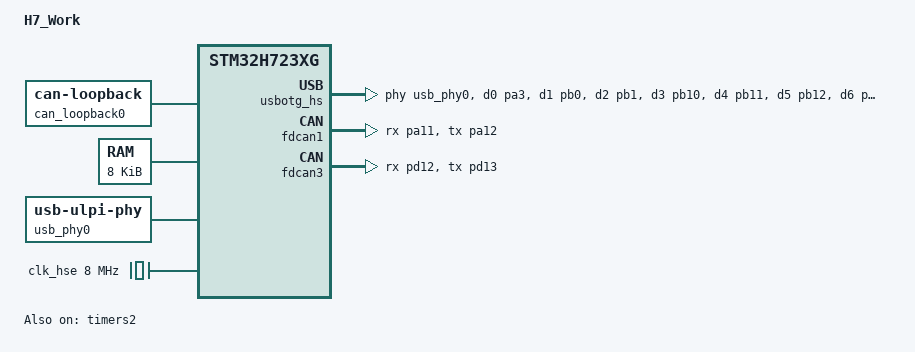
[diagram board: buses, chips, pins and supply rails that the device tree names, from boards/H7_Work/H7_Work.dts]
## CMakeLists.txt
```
# SPDX-License-Identifier: Apache-2.0

cmake_minimum_required(VERSION 3.28.0)

set(BOARD_ROOT ${CMAKE_CURRENT_LIST_DIR})
set(CMAKE_EXPORT_COMPILE_COMMANDS ON)

find_package(Zephyr REQUIRED HINTS $ENV{ZEPHYR_BASE})
project(H7_Work)

target_sources(app PRIVATE
    src/main.cpp
    src/Basic_USB.cpp
    src/Basic_CAN.cpp
    src/CS_CAN.cpp
    src/Extern_RM.cpp
    src/K_RTT_Thread.cpp
    src/K_CAN_Thread.cpp
    src/K_USB_CAN_ERR_Thread.cpp
    src/M_S_Control.cpp
)

target_include_directories(app PRIVATE
    ${CMAKE_CURRENT_SOURCE_DIR}/inc
    ${CMAKE_CURRENT_SOURCE_DIR}/src
)

set_source_files_properties(
    src/main.cpp
    PROPERTIES
    COMPILE_OPTIONS "-O0;-g3"
)
```

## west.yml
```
# Copyright (c) 2025 roboparty <2321901849@qq.com>
# SPDX-License-Identifier: GPL-3.0-only

manifest:
  version: 0.13

  projects:
    - name: zephyr
      remote: zephyrproject
      revision: main
      import: true

    - name: cannectivity
      remote: cannectivity
      revision: main
      path: custom/cannectivity

  remotes:
    - name: zephyrproject
      url-base: https://github.com/zephyrproject-rtos

    - name: cannectivity
      url-base: https://github.com/CANnectivity

  self:
    path: samples/roboto_usb2can
```

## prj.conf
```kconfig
# ======================================================================
# H7_Work / STM32H723VG   prj.conf
#
# 约定：
#  1) 本文件里注释必须"独占一行、以 # 开头"；
#     不要写  CONFIG_FOO=1 // 说明   —— 值会解析失败并静默回退默认值
#  2) *_LOG_LEVEL_* 是 Kconfig choice：同一模块只能出现一条
#  3) CONFIG_USBD_MAX_SPEED 是派生量（=1 表示编入 HS 支持），不要手写
#     —— 由 UDC_STM32 的 UDC_DRIVER_HAS_HIGH_SPEED_SUPPORT 自动选 HIGH
# ======================================================================

# ------------------------------------------------------------------ 1. 时钟
# STM32 时钟控制驱动：配置 PLL / 总线时钟
CONFIG_CLOCK_CONTROL=y

# ------------------------------------------------------------------ 2. 系统节拍
# 100 kHz tick = 10 µs 一拍（精度高，但 tick 中断开销也高；不需要可降到 10000）
CONFIG_SYS_CLOCK_TICKS_PER_SEC=100000

# ------------------------------------------------------------------ 3. 内核 / 运行时观测
# C++ 静态对象在 main() 之前就构造好
CONFIG_STATIC_INIT_GNU=y
# 保留 assert：失败先打日志再挂住，便于定位（构建时看到
# "__ASSERT() statements are globally ENABLED" 是正常的）
CONFIG_ASSERT=y
# FPU / 打印支持：让 RTT 能打 float
CONFIG_CBPRINTF_FP_SUPPORT=y

# 线程分析器：查每个线程的栈用量 / CPU 占用（纯调试用，平时可整组关掉）
CONFIG_THREAD_ANALYZER=y
CONFIG_THREAD_ANALYZER_PRINT_THREAD_PRIORITY=y
CONFIG_THREAD_ANALYZER_ISR_STACK_USAGE=y
# 用 k_thread_foreach_unlocked：逐字扫线程栈很慢，不要长时间关中断
CONFIG_THREAD_ANALYZER_RUN_UNLOCKED=y
# 线程名字（分析器输出里显示）
CONFIG_THREAD_NAME=y

# ------------------------------------------------------------------ 4. 内存 / 线程栈
# 所有中断共用栈
CONFIG_ISR_STACK_SIZE=8192
# 系统堆（k_malloc）
CONFIG_HEAP_MEM_POOL_SIZE=8192
# 系统工作队列 sysworkq
CONFIG_SYSTEM_WORKQUEUE_STACK_SIZE=4096
# main 线程栈：usbd_add_configuration/init/enable 等初始化都跑在 main 里
CONFIG_MAIN_STACK_SIZE=4096

# ------------------------------------------------------------------ 5. 日志（RTT 后端）
# 关键: deferred —— 日志由 log 线程格式化输出，不要在 UDC / USB 事件线程里同步写 RTT
CONFIG_LOG=y
CONFIG_LOG_MODE_DEFERRED=y
CONFIG_LOG_BACKEND_RTT=y
CONFIG_USE_SEGGER_RTT=y

# 允许用 devicetree 的 zephyr,memory-region 建立 no-cache 内存区
CONFIG_NOCACHE_MEMORY=y
# 把 RTT 控制块/缓冲放到 DTS 的 RTT_NOCACHE 区：Cortex-M7 有 D-cache，
# 放在可缓存内存里 pyocd 读 RTT 会 "Memory transfer fault (FAULT ACK)"
CONFIG_SEGGER_RTT_SECTION_CUSTOM_DTS_REGION=y
# 上行缓冲满时丢日志，而不是阻塞调用者（UDC 线程 / 中断不能等）
CONFIG_LOG_BACKEND_RTT_MODE_DROP=y
# 不加时间戳（省 CPU / 栈）
CONFIG_LOG_BACKEND_SHOW_TIMESTAMP=n
# 全局级别 3 = INF
CONFIG_LOG_DEFAULT_LEVEL=3

# 上行缓冲 / LOG 环形缓冲 / log 线程栈
CONFIG_SEGGER_RTT_BUFFER_SIZE_UP=8000
CONFIG_LOG_BUFFER_SIZE=16384
CONFIG_LOG_PROCESS_THREAD_STACK_SIZE=8000

# ------------------------------------------------------------------ 6. 各模块日志级别
# ★ 同一模块的 *_LOG_LEVEL_* 只能有一条（choice），想开 DBG 就先把同模块的 WRN 注释掉
#
# gs_usb 类：只留 WRN，避免每帧都刷屏
CONFIG_USBD_GS_USB_LOG_LEVEL_WRN=y
# CAN 子系统：只留 WRN（过滤器 out-of-bounds 的 LOG_ERR 仍会打印）
CONFIG_CAN_LOG_LEVEL_WRN=y
#
# ★ 调试开关（上板抓完日志后建议全部改回 WRN）
# UDC 驱动：DBG 会把每个端点的 ep_check_config 都打出来，一大串，淹没关键日志
# CONFIG_UDC_DRIVER_LOG_LEVEL_DBG=y
CONFIG_UDC_DRIVER_LOG_LEVEL_WRN=y
# usbd 协议栈核心：DBG 打印描述符 / 配置 / 类注册过程（排查枚举时临时开 DBG）
# CONFIG_USBD_LOG_LEVEL_DBG=y
CONFIG_USBD_LOG_LEVEL_INF=y

# ------------------------------------------------------------------ 7. USB 设备栈（device_next）
# cannectivity 的 gs_usb 类依赖新一代 device stack
CONFIG_USB_DEVICE_STACK_NEXT=y
CONFIG_NONZERO_SPINLOCK_SIZE=y

# usbd 协议栈线程 / STM32 UDC 驱动线程（日志里的 usb@40040000）
CONFIG_USBD_THREAD_STACK_SIZE=8192
CONFIG_UDC_STM32_STACK_SIZE=4096

# ------------------------------------------------------------------ 8. UDC 端点缓冲（net_buf）
# 个数：USB 满载时不够会 enqueue 失败 / 丢帧 16~256
CONFIG_UDC_BUF_COUNT=64
# 总量（字节，64~32768）；必须和上面的 count 配对加大，
# HS 满包 512B 时单次请求占用明显变大
CONFIG_UDC_BUF_POOL_SIZE=16384

# HS(MPS=512) 下 OTG 的 RxFIFO 基线：默认 600 只够塞 1 个 512B 包且无余量
# 实际 RxFIFO = 1024/4 + 2 + 2×num_endpoints = 276 words ≈ 1.1 KB（专用 RAM 4 KB 够）
CONFIG_UDC_STM32_OTG_RXFIFO_BASELINE_SIZE=1024

# ------------------------------------------------------------------ 9. gs_usb 设备类
# 通道数 = can_channels[] 的元素个数 = M_S_Control 各表的元素个数，三者必须一致
# channel0 = can0(真实 FDCAN1, PD0/PD1)
# channel1 = can1(虚拟回环 zephyr,can-loopback)
# channel2 = can2(真实 FDCAN3, PD12/PD13)
CONFIG_USBD_GS_USB_MAX_CHANNELS=3

# 主机帧缓冲池：元素 = 12B 头 + 64B 数据(FD) = 76B
CONFIG_USBD_GS_USB_POOL_SIZE=192

# Linux gs_usb < 6.12.5 硬编码 EP 0x81 / 0x02，需要多一个 bulk OUT 端点兜底
CONFIG_USBD_GS_USB_COMPATIBILITY_MODE=y

# 收发线程优先级（数值越小越高；TX 1 / RX 2，均高于 log 线程）
CONFIG_USBD_GS_USB_TX_THREAD_PRIO=1
CONFIG_USBD_GS_USB_RX_THREAD_PRIO=2
CONFIG_USBD_GS_USB_TX_THREAD_STACK_SIZE=8192
CONFIG_USBD_GS_USB_RX_THREAD_STACK_SIZE=8192

# can_loopback（虚拟 can1）驱动的发送线程栈
CONFIG_CAN_LOOPBACK_TX_THREAD_STACK_SIZE=2048

# ------------------------------------------------------------------ 10. CAN / FDCAN
# CAN FD 模式（FDF/BRS 帧，5M 数据段必需）
CONFIG_CAN_FD_MODE=y
# 统计框架 + CAN 统计（bit/bit0 error、bus-off 计数）
CONFIG_STATS=y
CONFIG_CAN_STATS=y

# ------------------------------------------------------------------ 11. 可选功能（要用再打开）
# 每帧附加硬件时间戳
# CONFIG_USBD_GS_USB_TIMESTAMP=y
# 时间戳改用 USB SOF 做基准（精度更高，但每帧一次 SOF 中断）
# CONFIG_USBD_GS_USB_TIMESTAMP_SOF=y

# ------------------------------------------------------------------ 12. 调试（ULPI 排查用，定位完可关掉）
# 让 gdb 能列出所有线程并打印各自调用栈（pyocd gdbserver 会提示需要它）
CONFIG_DEBUG_THREAD_INFO=y
CONFIG_THREAD_MONITOR=y
```

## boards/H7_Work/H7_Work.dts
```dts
/dts-v1/;

#include <st/h7/stm32h723Xg.dtsi>
#include <st/h7/stm32h723vgtx-pinctrl.dtsi>
#include <zephyr/dt-bindings/memory-attr/memory-attr-arm.h>

/ {
	model = "H7_Work";
	compatible = "candlelightfd";

	aliases {
		rtt-custom-section = &rtt_region;
	};

	chosen {
		zephyr,sram = &sram0;
		zephyr,flash = &flash0;
		zephyr,canbus2 = &fdcan1;
		zephyr,canbus3 = &fdcan3;
	};

	cannectivity: cannectivity {
		compatible = "cannectivity";
		timestamp-counter = <&counters2>;

		channel1 {
			compatible = "cannectivity-channel";
			can-controller = <&fdcan1>;
		};

		channel3 {
			compatible = "cannectivity-channel";
			can-controller = <&fdcan3>;
		};
	};

	gs_usb0: gs_usb0 {
		compatible = "gs_usb";
		label = "gs_usb";
	};

	can_loopback0: can_loopback {
		compatible = "zephyr,can-loopback";
		status = "okay";
	};

	rtt_region: memory@2404e000 {
		compatible = "zephyr,memory-region", "mmio-sram";
		reg = <0x2404e000 DT_SIZE_K(8)>;
		zephyr,memory-region = "RTT_NOCACHE";
		zephyr,memory-attr = <DT_MEM_ARM_MPU_RAM_NOCACHE>;
	};

	usb_phy0: usb-phy-ulpi {
		compatible = "usb-ulpi-phy";
		#phy-cells = <0>;
	};
};

&sram0 {
	reg = <0x24000000 DT_SIZE_K(312)>;
};

/* Adjust the pll for a SYSTEM Clock of 480 MHz  */
&clk_hse {
	hse-bypass;
	clock-frequency = <DT_FREQ_M(8)>;
	status = "okay";
};

&pll {
	clocks = <&clk_hse>;
	div-m = <4>;   // 2 MHz to PLL（VCO）
	mul-n = <260>; // 520MHz
	div-p = <1>;   // 520MHz to SYS
	div-q = <13>;   // 20 MHz
	div-r = <13>;   // 20MHz to UART234578
	fracn = <0>;
	status = "okay";
};

&pll2 {
	clocks = <&clk_hse>;
	div-m = <1>;  // 8   MHz to PLL2（VCO）
	mul-n = <25>; // 200 MHz
	div-p = <2>;  // 100 MHz
	div-q = <2>;  // 100 MHz to FDCAN
	div-r = <2>;  // 100 MHz
	fracn = <0>;
	status = "okay";
};

&rcc {
	clocks = <&pll>;
	clock-frequency = <DT_FREQ_M(520)>;     /* 520 MHz SCLK*/
	d1cpre = <1>;                           /* 520 MHz CPU Clocks*/
	hpre = <4>;				/* 130 MHz */
	d1ppre = <1>;				/* 130 MHz APB3 Peripheral Clock */
	d2ppre1 = <1>;				/* 130 MHz APB1 Peripheral Clock */
	d2ppre2 = <1>;				/* 130 MHz APB2 Peripheral Clock */
	d3ppre = <1>;				/* 130 MHz APB4 Peripheral Clock */
	timpre;					/* Timer Clock Prescaler */
};

&clk_hsi48 {
	status = "okay";
};

zephyr_udc0: &usbotg_hs {
	pinctrl-0 = <&usb_otg_hs_ulpi_d0_pa3
		     &usb_otg_hs_ulpi_d1_pb0
		     &usb_otg_hs_ulpi_d2_pb1
		     &usb_otg_hs_ulpi_d3_pb10
		     &usb_otg_hs_ulpi_d4_pb11
		     &usb_otg_hs_ulpi_d5_pb12
		     &usb_otg_hs_ulpi_d6_pb13
		     &usb_otg_hs_ulpi_d7_pb5
		     &usb_otg_hs_ulpi_ck_pa5
		     &usb_otg_hs_ulpi_stp_pc0
		     &usb_otg_hs_ulpi_dir_pc2_c
		     &usb_otg_hs_ulpi_nxt_pc3_c>;
	pinctrl-names = "default";
	interrupts = <74 0>, <75 0>, <76 0>, <77 0>;
	num-bidir-endpoints = <9>;
	phys = <&usb_phy0>;
	maximum-speed = "high-speed";
	ram-size = <DT_SIZE_K(4)>;
	clocks = <&rcc STM32_CLOCK_BUS_AHB1 0x06000000>,
		 <&rcc STM32_SRC_HSI48 USB_SEL(3)>;
	status = "okay";
};

&fdcan1 {
	/* 本板(ULPI 高速板)原理图: FDCAN1_TX -> U2-71(PA12) -> U3(TXD)
	 *                        FDCAN1_RX -> U2-70(PA11) -> U3(RXD)
	 * PD0/PD1 在板上是悬空的，配成 PD0/PD1 会导致报文根本到不了收发器，
	 * 控制器收不到 ACK -> bus-off -> can_send 返回 -ENETUNREACH(-114)
	 */
	pinctrl-0 = <&fdcan1_rx_pa11 &fdcan1_tx_pa12>;
	pinctrl-names = "default";
	clocks = <&rcc STM32_CLOCK(APB1_2, 8)>,
		 <&rcc STM32_SRC_PLL2_Q FDCAN_SEL(2)>;
	status = "okay";
};

&fdcan3 {
	pinctrl-0 = <&fdcan3_rx_pd12 &fdcan3_tx_pd13>;
	pinctrl-names = "default";
	clocks = <&rcc STM32_CLOCK(APB1_2, 8)>,
		 <&rcc STM32_SRC_PLL2_Q FDCAN_SEL(2)>;
	status = "okay";
};

&timers2 {
	status = "okay";
	st,prescaler = <239>;

	counters2: counter {
		status = "okay";
	};
};

&pwr {
	power-supply = "ldo";
};
```

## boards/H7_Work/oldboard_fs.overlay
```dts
/*
 * 旧板（H7_Work 原始板）A/B 验证用 overlay
 *
 * 用法：
 *   west build -p always -b H7_Work ~/Zephyr_text/H7_Work -- \
 *       -DDTC_OVERLAY_FILE=boards/H7_Work/oldboard_fs.overlay
 *
 * 作用：把 USB 从"外部 ULPI PHY"切回"MCU 内置 FS PHY（PA11/PA12）"。
 * 注意：新测试板（ULPI）不要用这个 overlay。
 *      旧板上 CAN 引脚(PB12/PB13)与当前 dts(fdcan1/fdcan3) 不匹配，
 *      只验 USB 时可以忽略 CAN 报错。
 */

&usbotg_hs {
	pinctrl-0 = <&usb_otg_hs_dm_pa11 &usb_otg_hs_dp_pa12>;
	pinctrl-names = "default";
	phys = <&otghs_fs_phy>;
	maximum-speed = "full-speed";
};
```

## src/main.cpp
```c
#include <zephyr/kernel.h>
#include <zephyr/logging/log.h>
#include <soc.h>

#include <Basic_USB.h>
#include "CS_CAN.h"

#include <K_RTT_Thread.h>
#include <K_CAN_Thread.h>

#include <M_S_Control.h>

LOG_MODULE_REGISTER(main, LOG_LEVEL_INF);

K_THREAD_DEFINE(RTT_TX_tid, 4096,
				RTT_TX_thread, 
				NULL, NULL, NULL,
				7, 0, 0);

				
K_THREAD_DEFINE(RTT_RX_tid, 4096,
				RTT_RX_thread,
				NULL, NULL, NULL,
				6, 0, 0);

K_THREAD_DEFINE(CAN2_tid, 2048,
				CAN2_thread, 
				NULL, NULL, NULL, 
				1, 0, SYS_FOREVER_MS);

K_THREAD_DEFINE(CAN_loopback_tid, 2048,
				CAN_loopback_thread, 
				NULL, NULL, NULL, 
				5, 0, 0);

// K_THREAD_DEFINE(USB_CAN_Err_tid, 1024,
// 				USB_CAN_ERR_thread, 
// 				NULL, NULL, NULL, 
// 				2, 0, 0);

int main_err = 0;

/* ------------------------------------------------------------------
 * 运行模式（两种互斥：gs_usb 和 CAN2_thread 都要独占 fdcan1）
 *   0 = USB 模式：gs_usb 三通道 CAN-FD，PC 用 socketcan 收发，云台控制环不跑
 *   1 = 独立 CAN 模式：关掉 USB，启动 fdcan1 + 达妙电机控制环，脱离 PC 跑
 * ------------------------------------------------------------------ */
#define APP_STANDALONE_CAN_MODE  0

#if APP_STANDALONE_CAN_MODE
static bool can2_started;
#endif

/* ------------------------------------------------------------------
 * 复位探针：__noinit 变量不被启动代码清零，可跨复位累加。
 * 若 boot # 一直在涨，就说明板子在反复复位（枚举失败的头号原因）。
 * ------------------------------------------------------------------ */
static __noinit uint32_t boot_cnt;

static void log_reset_cause(void)
{
	uint32_t rsr = RCC->RSR;

	boot_cnt++;
	LOG_WRN("boot #%u  RCC->RSR=0x%08x", boot_cnt, rsr);

#ifdef RCC_RSR_BORRSTF
	if (rsr & RCC_RSR_BORRSTF)  { LOG_WRN("  -> brown-out (BOR) reset"); }
#endif
#ifdef RCC_RSR_PORRSTF
	if (rsr & RCC_RSR_PORRSTF)  { LOG_WRN("  -> power-on (POR) reset"); }
#endif
#ifdef RCC_RSR_PINRSTF
	if (rsr & RCC_RSR_PINRSTF)  { LOG_WRN("  -> NRST pin reset"); }
#endif
#ifdef RCC_RSR_SFTRSTF
	if (rsr & RCC_RSR_SFTRSTF)  { LOG_WRN("  -> software reset"); }
#endif
#ifdef RCC_RSR_IWDGRSTF
	if (rsr & RCC_RSR_IWDGRSTF) { LOG_WRN("  -> IWDG reset"); }
#endif
#ifdef RCC_RSR_WWDGRSTF
	if (rsr & RCC_RSR_WWDGRSTF) { LOG_WRN("  -> WWDG reset"); }
#endif
#ifdef RCC_RSR_LPWRRSTF
	if (rsr & RCC_RSR_LPWRRSTF) { LOG_WRN("  -> low-power reset"); }
#endif

	/* 清标志，下次读到的才是新的复位原因 */
#if defined(RCC_RSR_RMVF)
	RCC->RSR |= RCC_RSR_RMVF;
#elif defined(RCC_RSR_RMVF_Msk)
	RCC->RSR |= RCC_RSR_RMVF_Msk;
#endif
}

int main(void)
{
	log_reset_cause();
	LOG_INF("Begin Gimbal");

	main_err = usb_device_setup();
	if (main_err != 0)
	{
		LOG_ERR("usb_device_setup failed (err %d)", main_err);
		return main_err;
	}

	// /* CAN 状态监听：bus-off / error-passive 直接打到 RTT，方便定位发送失败 */
	// CS_CAN_Monitor_Init();

	// /* CAN 丢包监测：每秒打印 RX FIFO 溢出 / 错误计数增量 / USB 收发帧数 */
	// CS_CAN_Loss_Monitor_Start();

#if APP_STANDALONE_CAN_MODE
	/* 独立 CAN 模式：先关 USB（gs_usb 与 CAN2_thread 争用 fdcan1），
	 * 再启动三路 FDCAN，最后拉起达妙电机控制环。 */
	M_S_Control.C_M_TO_S(usb_main_get());
	if (!can2_started) {
		can2_started = true;
		k_thread_start(CAN2_tid);
	}
#endif

	return 0;
}
```

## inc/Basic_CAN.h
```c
#ifndef BASIC_CAN_H_
#define BASIC_CAN_H_

#include <zephyr/kernel.h>
#include <zephyr/drivers/can.h>
#include <zephyr/devicetree.h> 

#define CAN_Get_Frame(data_ptr, q_name)   (k_msgq_put(&(q_name), (data_ptr), K_NO_WAIT))

extern const struct can_filter BASIC_CANLB_Fil;
extern const struct can_filter BASIC_CAN1_Fil;
extern const struct can_filter BASIC_CAN2_Fil;
extern const struct can_filter BASIC_CAN3_Fil;

extern struct k_msgq basic_canlb_q;
extern struct k_msgq basic_can1_q;
extern struct k_msgq basic_can2_q;
extern struct k_msgq basic_can3_q;

void CAN_LB_RX_Cplt(const struct device *dev, struct can_frame *frame, void *user_data);
void CAN1_RX_Cplt(const struct device *dev, struct can_frame *frame, void *user_data);
void CAN2_RX_Cplt(const struct device *dev, struct can_frame *frame, void *user_data);
void CAN3_RX_Cplt(const struct device *dev, struct can_frame *frame, void *user_data);

void CAN_Clear_All_Filters(const struct device *can);
void CAN_Clear_Std_Filters(const struct device *can);

int Basic_CAN_Start(const struct device *can,
                        uint16_t can_mod,
                        can_rx_callback_t CAN_RX_Cplt,
                        const struct can_filter *filter,
                        uint32_t bitrate);

int Basic_CAN_Stop(const struct device *can);
#endif
```

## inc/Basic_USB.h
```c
#pragma once

#ifdef CONFIG_USB_DEVICE_STACK_NEXT
#include <zephyr/usb/usbd.h>
#include <cannectivity/usb/class/gs_usb.h>

#define CAN_CHANNELS_NUM CONFIG_USBD_GS_USB_MAX_CHANNELS
#define APP_VERSION_BCD  0x0100

/* ------------------------------------------------------------------
 * 注意：下面这些 USBD_*_DEFINE 宏展开的是 static 对象，只能在
 * src/Basic_USB.cpp 里定义一次，绝不能写在头文件里。
 * 这里只做函数声明。
 * ------------------------------------------------------------------ */
struct usbd_context *usb_main_get(void);

/* 建描述符/配置/注册类 → usbd_init() → usbd_enable()
 * 前置条件：gs_usb_register() 已成功返回 */
int usb_device_setup(void);

extern atomic_t USB_CHANNEL_STARTED[CONFIG_USBD_GS_USB_MAX_CHANNELS],
                USB_CHANNEL_ERROR_OFF[CONFIG_USBD_GS_USB_MAX_CHANNELS],
                USB_CHANNEL_ERROR_ON[CONFIG_USBD_GS_USB_MAX_CHANNELS],
                USB_CHANNEL_ACTIVITY_RX[CONFIG_USBD_GS_USB_MAX_CHANNELS],
                USB_CHANNEL_ACTIVITY_TX[CONFIG_USBD_GS_USB_MAX_CHANNELS];

extern const struct device *can_channels[CAN_CHANNELS_NUM];
extern const struct device *gs_usb_dev;
extern struct gs_usb_ops ops;

int gs_usb_event_handler(const struct device *dev, uint16_t ch,
                         enum gs_usb_event event, void *user_data);

int can_channels_validate(const struct device **channels);

void USB_CAN_ERR_thread(void *p1, void *p2, void *p3);

#endif
```

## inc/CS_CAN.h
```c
/*
 * CS_CAN - CAN 监视 / 查错
 *
 * 与 Basic_CAN 的正常收发逻辑解耦：Basic_CAN 只负责 msgq 与 start/stop，
 * 所有调试打印（状态变化、错误计数、帧内容）都在这里。
 */
#ifndef CS_CAN_H_
#define CS_CAN_H_

#include <zephyr/kernel.h>
#include <zephyr/drivers/can.h>
#include <zephyr/devicetree.h>

/* 注册 fdcan1 / fdcan3 的状态变化回调：
 * ERROR-WARNING / ERROR-PASSIVE / BUS-OFF 及错误计数会打印到 RTT。
 * 可在 USB(gs_usb) 模式和独立 CAN 模式下使用，多次调用无副作用。 */
void CS_CAN_Monitor_Init(void);

/* 打印一帧 CAN/CAN-FD 报文，例如：
 *   CS_CAN_Log_Frame("fdcan1 RX", frame);
 * 可在任意 RX 回调里调用（中断上下文安全，使用 deferred logging）。 */
void CS_CAN_Log_Frame(const char *tag, const struct can_frame *frame);

/* 启动丢包监测线程：每 1 秒打印一次
 *   - 控制器 RX FIFO 溢出增量（真正意义上的接收丢帧）
 *   - ACK / CRC / 格式 / 位错误增量（发送失败分类）
 *   - gs_usb 每秒实际送到主机的 RX/TX 帧数（USB 模式才有意义）
 * 重复调用无副作用。需要 CONFIG_CAN_STATS=y。 */
void CS_CAN_Loss_Monitor_Start(void);

#endif /* CS_CAN_H_ */
```

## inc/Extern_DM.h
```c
#ifndef EXTERN_DM_H_
#define EXTERN_DM_H_

#include <stdbool.h>
#include <stdint.h>

#include <zephyr/kernel.h>
#include <zephyr/drivers/can.h>
#include <zephyr/devicetree.h>

/*
 * 达妙 MIT 模式反馈量程。
 * 位置单位：rad；速度单位：rad/s；力矩单位：N·m。
 * 不同电压/固件版本可能有不同量程，调用者应以电机手册为准。
 */
struct DM_Feedback
{
    uint16_t can_id;
    uint8_t error;
    float position;
    float velocity;
    float torque;
    uint8_t mos_temperature;
    uint8_t rotor_temperature;
};

/*
 * 发送一帧达妙 MIT 控制命令。
 * Id 是电机 CAN 从机 ID；Kp、Kd、Position、Velocity、Torque 使用物理单位。
 * P_Max、V_Max、T_Max 必须匹配具体电机型号。
 */
int Send_DM(const struct device *can,
            uint16_t Id,
            float Kp,
            float Kd,
            float Position,
            float Velocity,
            float Torque,
            float P_Max,
            float V_Max,
            float T_Max);

/* 达妙命令：0xFC 使能，0xFD 停止，0xFE 设置零位。 */
int Send_DM_Command(const struct device *can, uint16_t Id, uint8_t Command);
int Enable_DM(const struct device *can, uint16_t Id);
int Disable_DM(const struct device *can, uint16_t Id);
int Set_Zero_DM(const struct device *can, uint16_t Id);

/* 将一帧 8 字节达妙反馈解码为位置、速度、力矩和温度。 */
bool Decode_DM(const struct can_frame *Frame,
               struct DM_Feedback *Feedback,
               float P_Max,
               float V_Max,
               float T_Max);

#endif
```

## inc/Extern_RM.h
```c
#ifndef EXTERN_RM_H_
#define EXTERN_RM_H_

#include <zephyr/kernel.h>
#include <zephyr/drivers/can.h>
#include <zephyr/devicetree.h> 

void Send_RM(const struct device *can, uint16_t Id, int16_t M_201, int16_t M_202, int16_t M_203, int16_t M_204);
#endif
```

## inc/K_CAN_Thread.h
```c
#ifndef K_CAN_THREAD_H_
#define K_CAN_THREAD_H_

#include <zephyr/kernel.h>
#include <zephyr/drivers/can.h>
#include <zephyr/devicetree.h> 

extern const k_tid_t CAN2_tid;

void CAN2_thread(void *p1, void *p2, void *p3);
void CAN_loopback_thread(void *p1, void *p2, void *p3);
#endif
```

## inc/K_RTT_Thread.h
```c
#ifndef RTT_THREAD_H_
#define RTT_THREAD_H_

#include <zephyr/kernel.h>
#include <zephyr/logging/log.h>
#include <zephyr/sys/sys_io.h>
#include <SEGGER_RTT.h>
extern int RTT_LOG_INFO;
extern uint32_t CAN_RX_Num;
extern uint32_t CAN_TX_Num;
void RTT_TX_thread(void *p1, void *p2, void *p3);
void RTT_RX_thread(void *p1, void *p2, void *p3);

#endif
```

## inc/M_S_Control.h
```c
#ifndef M_S_CONTROL_H_
#define M_S_CONTROL_H_

#include <zephyr/kernel.h>
#include <zephyr/drivers/can.h>
#include <zephyr/devicetree.h> 



class _M_S_Control
{
    private:
        struct k_sem sem;
        bool S_State;
        bool *E_CAN_State;
        const uint16_t *can_mod;
        const can_rx_callback_t *CAN_RX_Cplt;
        const struct device **can_dev;
        const struct can_filter *const *Fil;
        const uint32_t *bitrate;
    public:
        _M_S_Control(bool *E_CAN_State,
                     const uint16_t *can_mod,
                     const can_rx_callback_t *CAN_RX_Cplt,
                     const struct device **can_dev,
                     const struct can_filter *const *Fil,
                     const uint32_t *bitrate)
                    :S_State(false), E_CAN_State(E_CAN_State), can_mod(can_mod), CAN_RX_Cplt(CAN_RX_Cplt),can_dev(can_dev), Fil(Fil), bitrate(bitrate)
                    {k_sem_init(&sem, 1, 1);}
        
        /* delete cpoy function */
        _M_S_Control(const _M_S_Control&) = delete;
        _M_S_Control& operator=(const _M_S_Control&) = delete;

        int C_M_TO_S(struct usbd_context *const uds_ctx);

        int C_S_TO_M(  struct usbd_context *const uds_ctx,
                        const struct device *usb_dev,
                        struct gs_usb_ops *res_ops);
        
        bool Get_S_State(k_timeout_t timeout);
        bool Get_E_CAN_State(size_t channel, k_timeout_t timeout);
};
extern _M_S_Control M_S_Control;
#endif
```

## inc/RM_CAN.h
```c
#ifndef RM_CAN_H_
#define RM_CAN_H_

#include <zephyr/kernel.h>
#include <zephyr/drivers/can.h>
#include <zephyr/devicetree.h> 

#define CAN_Get_Frame(data_ptr, q_name)   (k_msgq_put(&(q_name), (data_ptr), K_NO_WAIT))

extern const struct can_filter RM_CAN2_Fil;
extern const struct can_filter RM_CAN3_Fil;

extern struct k_msgq rm_can2_q;
extern struct k_msgq rm_can3_q;

void CAN2_RX_Cplt(const struct device *dev, struct can_frame *frame, void *user_data);
void CAN3_RX_Cplt(const struct device *dev, struct can_frame *frame, void *user_data);
void CAN_Clear_Filters(const struct device *can);

void CAN_RM_Start(  const struct device *can,
                    uint16_t can_mod,
                    can_rx_callback_t CAN_RX_Cplt,
                    const struct can_filter *filter);

void CAN_RM_Stop(const struct device *can);
void Send_RM(const struct device *can, uint16_t Id, int16_t M_201, int16_t M_202, int16_t M_203, int16_t M_204);
#endif
```

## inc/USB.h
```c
#pragma once

#ifdef CONFIG_USB_DEVICE_STACK_NEXT
#include <zephyr/usb/usbd.h>
#include <cannectivity/usb/class/gs_usb.h>

#define CAN_CHANNELS_NUM CONFIG_USBD_GS_USB_MAX_CHANNELS
#define APP_VERSION_BCD 0x0100

/* ============ 1. 设备上下文 + 标准字符串/配置描述符 ============ */
USBD_DEVICE_DEFINE(usbd, DEVICE_DT_GET(DT_NODELABEL(zephyr_udc0)), 0x1D50, 0x606F);
USBD_DESC_LANG_DEFINE(lang);
USBD_DESC_MANUFACTURER_DEFINE(mfr, "A_Shui");
USBD_DESC_PRODUCT_DEFINE(product, "product_0");
USBD_DESC_SERIAL_NUMBER_DEFINE(sn);
USBD_DESC_CONFIG_DEFINE(fs_config_desc, "Full-Speed Configuration");
USBD_CONFIGURATION_DEFINE(fs_config, 0, 250, &fs_config_desc);

extern atomic_t USB_CHANNEL_STARTED[CONFIG_USBD_GS_USB_MAX_CHANNELS],
                USB_CHANNEL_ERROR_OFF[CONFIG_USBD_GS_USB_MAX_CHANNELS],
                USB_CHANNEL_ERROR_ON[CONFIG_USBD_GS_USB_MAX_CHANNELS],
                USB_CHANNEL_ACTIVITY_RX[CONFIG_USBD_GS_USB_MAX_CHANNELS],
                USB_CHANNEL_ACTIVITY_TX[CONFIG_USBD_GS_USB_MAX_CHANNELS];

extern const struct device *can_channels[CAN_CHANNELS_NUM];

/* ============ 2. BOS 能力：USB2.0 Extension(LPM) ============ */
static const struct usb_bos_capability_lpm bos_cap_lpm = {
    .bLength = sizeof(struct usb_bos_capability_lpm),
    .bDescriptorType = USB_DESC_DEVICE_CAPABILITY,
    .bDevCapabilityType = USB_BOS_CAPABILITY_EXTENSION,
    .bmAttributes = 0UL,
};

/* ============ 3. BOS 描述符节点 ============ */
USBD_DESC_BOS_DEFINE(bos_lpm, sizeof(bos_cap_lpm), &bos_cap_lpm);

struct usbd_context *usb_main_get(void);
extern const struct device *gs_usb_dev;
extern struct gs_usb_ops ops;

int gs_usb_event_handler(const struct device *dev, uint16_t ch,
                         enum gs_usb_event event, void *user_data);

int can_channels_validate(const struct device **channels);

void USB_CAN_ERR_thread(void *p1, void *p2, void *p3);

#endif
```

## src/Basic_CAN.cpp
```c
#include "Basic_CAN.h"
#include "M_S_Control.h"

const struct can_filter BASIC_CANLB_Fil = { .id = 0, .mask = 0, .flags = 0 };
const struct can_filter BASIC_CAN1_Fil = { .id = 0, .mask = 0, .flags = 0 };
const struct can_filter BASIC_CAN2_Fil = { .id = 0, .mask = 0, .flags = 0 };
const struct can_filter BASIC_CAN3_Fil = { .id = 0, .mask = 0, .flags = 0 };

K_MSGQ_DEFINE(basic_canlb_q, 8,8,2);
K_MSGQ_DEFINE(basic_can1_q, 8,8,2);
K_MSGQ_DEFINE(basic_can2_q, 8,8,2);
K_MSGQ_DEFINE(basic_can3_q, 8,8,2);
extern uint32_t CAN_RX_Num;
__noinit volatile float torque;
REQUIRES(torque);

float uint_to_float(int x_int, float x_min, float x_max, int bits)
{
    /// converts unsigned int to float, given range and number of bits ///
    float span = x_max - x_min;
    float offset = x_min;
    return ((float)x_int) * span / ((float)((1 << bits) - 1)) + offset;
}

__attribute__((weak)) void CAN_LB_RX_Cplt(const struct device *dev, 
                                        struct can_frame *frame,
                                        void *user_data)
{
    k_msgq_purge(&basic_canlb_q);
    CAN_Get_Frame(frame->data,basic_canlb_q);
}

__attribute__((weak)) void CAN1_RX_Cplt(const struct device *dev, 
                                        struct can_frame *frame,
                                        void *user_data)
{
    k_msgq_purge(&basic_can1_q);
    CAN_Get_Frame(frame->data,basic_can1_q);
}

__attribute__((weak)) void CAN3_RX_Cplt(const struct device *dev, 
                                        struct can_frame *frame,
                                        void *user_data)
{
    k_msgq_purge(&basic_can3_q);
    CAN_Get_Frame(frame->data,basic_can3_q);
}


/*-  0: success
  - -1: can is NULL
  - -2: can_stop fail
  - -3: can_add_rx_filter fail
  - -4: can_set_mode fail
  - -5: can_set_bitrate fail
  - -6: can_set_bitrate_data fail
  - -7: can_start fail*/
int Basic_CAN_Start(const struct device *can,
                        uint16_t can_mod,
                        can_rx_callback_t CAN_RX_Cplt,
                        const struct can_filter *filter,
                        uint32_t bitrate)
{
    if(can != NULL)
    {
        int rec = can_stop(can);
        if(rec == 0 || rec == -EALREADY)
            if (can == DEVICE_DT_GET_ONE(zephyr_can_loopback))
                CAN_Clear_Std_Filters(can);
            else
                CAN_Clear_All_Filters(can);
        else
            return -2;

        if(can_add_rx_filter(can, CAN_RX_Cplt, NULL, filter) != 0)
            return -3;

        if(can_set_mode(can, can_mod) != 0)
            return -4;

        if (can_mod & CAN_MODE_FD)
        {
            /* 分开判断：用按位与会把“一个失败、一个成功”误判成成功 */
            if (can_set_bitrate(can, 1000000) != 0)
                return -5;
            if (can_set_bitrate_data(can, bitrate) != 0)
                return -5;
        }
        else
        {
            if(can_set_bitrate(can, bitrate) != 0)
                return -6;
        }
        
        if(can_start(can) != 0)
            return -7;

        return 0;
    }
    return -1;
}

/*-  0: success
  - -1: can is NULL
  - -2: can_stop fail */
int Basic_CAN_Stop(const struct device *can)
{
    if(can != NULL)
    {
        int rec = can_stop(can);
        if(rec == 0 || rec == -EALREADY)
        {
            if (can == DEVICE_DT_GET_ONE(zephyr_can_loopback))
                CAN_Clear_Std_Filters(can);
            else
                CAN_Clear_All_Filters(can);
            return 0;
        }
        else
            return -2;
    }
    return -1;
}

void CAN_Clear_All_Filters(const struct device *can)
{
    int n_std = can_get_max_filters(can, false);
    int n_ext = can_get_max_filters(can, true);
    for (int id = 0; id < n_std + n_ext; id++) 
        can_remove_rx_filter(can, id);
}

void CAN_Clear_Std_Filters(const struct device *can)
{
    int n_std = can_get_max_filters(can, false);
    for (int id = 0; id < n_std; id++) 
        can_remove_rx_filter(can, id);
}
```

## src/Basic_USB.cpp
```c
#include <zephyr/kernel.h>
#include <zephyr/sys/atomic.h>
#include <zephyr/sys/sys_io.h>
#include <zephyr/logging/log.h>
#include "Basic_USB.h"
#include <zephyr/drivers/can.h>
#include <zephyr/devicetree.h>
#include <zephyr/usb/usbd_msg.h>
#include <soc.h>

K_MSGQ_DEFINE(CAN_ERR_MSGQ, sizeof(uint8_t), 2, 1);

LOG_MODULE_REGISTER(usb_can, LOG_LEVEL_INF);

USBD_DEVICE_DEFINE(usbd, DEVICE_DT_GET(DT_NODELABEL(zephyr_udc0)), 0x1D50, 0x606F);

USBD_DESC_LANG_DEFINE(lang);
USBD_DESC_MANUFACTURER_DEFINE(mfr, "A_Shui");
USBD_DESC_PRODUCT_DEFINE(product, "product_0");
USBD_DESC_SERIAL_NUMBER_DEFINE(sn);

USBD_DESC_CONFIG_DEFINE(fs_config_desc, "Full-Speed Configuration");
USBD_CONFIGURATION_DEFINE(fs_config, 0, 250, &fs_config_desc);
USBD_DESC_CONFIG_DEFINE(hs_config_desc, "High-Speed Configuration");
USBD_CONFIGURATION_DEFINE(hs_config, 0, 250, &hs_config_desc);

static const struct usb_bos_capability_lpm bos_cap_lpm = {
    .bLength = sizeof(struct usb_bos_capability_lpm),
    .bDescriptorType = USB_DESC_DEVICE_CAPABILITY,
    .bDevCapabilityType = USB_BOS_CAPABILITY_EXTENSION,

    .bmAttributes = 0UL,
};
USBD_DESC_BOS_DEFINE(bos_lpm, sizeof(bos_cap_lpm), &bos_cap_lpm);

struct usbd_context *usb_main_get(void)
{
    return &usbd;
}

static void usbd_msg_cb(struct usbd_context *const ctx, const struct usbd_msg *const msg)
{
    LOG_INF("USBD: %s (type %d)", usbd_msg_type_string(msg->type), msg->type);

    switch (msg->type) {
    case USBD_MSG_RESET:
        LOG_INF("  reset, bus speed = %d", usbd_bus_speed(ctx));
        break;
    case USBD_MSG_CONFIGURATION:
        LOG_INF("  configured = %d, bus speed = %d", msg->status, usbd_bus_speed(ctx));
        break;
    case USBD_MSG_UDC_ERROR:
    case USBD_MSG_STACK_ERROR:
        LOG_ERR("  stack/udc error %d", msg->status);
        break;
    default:
        break;
    }
}

static void usb_ulpi_analog_switch_fixup(void)
{
#if defined(SYSCFG_PMCR_PC2SO) && defined(SYSCFG_PMCR_PC3SO)
    const uint32_t mask = SYSCFG_PMCR_PC2SO | SYSCFG_PMCR_PC3SO;

    if ((SYSCFG->PMCR & mask) != 0U) {
        SYSCFG->PMCR &= ~mask;
        LOG_INF("SYSCFG->PMCR = 0x%08x (PC2/PC3 analog switch CLOSED)", SYSCFG->PMCR);
    }
#endif
}

#if DT_HAS_COMPAT_STATUS_OKAY(usb_ulpi_phy)
#define USB_ULPI_STP_PORT   GPIOC
#define USB_ULPI_STP_PIN    0U
#define USB_ULPI_STP_AF     10U

#define USB_PHY_RST_PORT    GPIOD
#define USB_PHY_RST_PIN     9U
#define USB_PHY_RST_ASSERT_MS  20
#define USB_PHY_RST_RELEASE_MS 10

#define USB_ULPI_WAKEUP_MS  10

static void usb_phy_hw_reset(void)
{
    RCC->AHB4ENR |= RCC_AHB4ENR_GPIODEN;
    (void)RCC->AHB4ENR;

    USB_PHY_RST_PORT->BSRR = (1U << USB_PHY_RST_PIN);
    USB_PHY_RST_PORT->PUPDR &= ~(3U << (USB_PHY_RST_PIN * 2U));
    USB_PHY_RST_PORT->OTYPER &= ~(1U << USB_PHY_RST_PIN);
    USB_PHY_RST_PORT->OSPEEDR |= (3U << (USB_PHY_RST_PIN * 2U));
    USB_PHY_RST_PORT->MODER =
        (USB_PHY_RST_PORT->MODER & ~(3U << (USB_PHY_RST_PIN * 2U))) |
        (1U << (USB_PHY_RST_PIN * 2U));

    LOG_DBG("PHY RESET(pd9) asserted for %d ms", USB_PHY_RST_ASSERT_MS);
    k_msleep(USB_PHY_RST_ASSERT_MS);

    USB_PHY_RST_PORT->BSRR = (1U << (USB_PHY_RST_PIN + 16U));
    LOG_DBG("PHY RESET(pd9) released, wait %d ms", USB_PHY_RST_RELEASE_MS);
    k_msleep(USB_PHY_RST_RELEASE_MS);
}

static void usb_ulpi_phy_wakeup(void)
{
    RCC->AHB4ENR |= RCC_AHB4ENR_GPIOCEN;
    (void)RCC->AHB4ENR;

    USB_ULPI_STP_PORT->BSRR = (1U << USB_ULPI_STP_PIN);
    USB_ULPI_STP_PORT->PUPDR &= ~(3U << (USB_ULPI_STP_PIN * 2U));
    USB_ULPI_STP_PORT->OTYPER &= ~(1U << USB_ULPI_STP_PIN);
    USB_ULPI_STP_PORT->OSPEEDR |= (3U << (USB_ULPI_STP_PIN * 2U));
    USB_ULPI_STP_PORT->MODER =
        (USB_ULPI_STP_PORT->MODER & ~(3U << (USB_ULPI_STP_PIN * 2U))) |
        (1U << (USB_ULPI_STP_PIN * 2U));

    k_msleep(USB_ULPI_WAKEUP_MS);
}

static void usb_ulpi_phy_stp_release(void)
{
    USB_ULPI_STP_PORT->AFR[0] =
        (USB_ULPI_STP_PORT->AFR[0] & ~(0xFU << (USB_ULPI_STP_PIN * 4U))) |
        (USB_ULPI_STP_AF << (USB_ULPI_STP_PIN * 4U));
    USB_ULPI_STP_PORT->MODER =
        (USB_ULPI_STP_PORT->MODER & ~(3U << (USB_ULPI_STP_PIN * 2U))) |
        (2U << (USB_ULPI_STP_PIN * 2U));
    LOG_DBG("STP released to ULPI_STP(AF10)");
}
#else
static void usb_ulpi_phy_wakeup(void) { }
static void usb_ulpi_phy_stp_release(void) { }
static void usb_phy_hw_reset(void) { }
#endif

int usb_device_setup(void)
{
    int err;

    usb_ulpi_analog_switch_fixup();

    RCC->AHB1ENR |= (RCC_AHB1ENR_USB1OTGHSEN | RCC_AHB1ENR_USB1OTGHSULPIEN);
    (void)RCC->AHB1ENR;
    k_busy_wait(200);

    usb_phy_hw_reset();

    usb_ulpi_phy_wakeup();

    ops.event = gs_usb_event_handler;

    err = can_channels_validate(can_channels);
    if (err != 0) { LOG_ERR("can_channels_validate (err %d)", err); return err; }

    err = gs_usb_register(gs_usb_dev, can_channels,
                          ARRAY_SIZE(can_channels), &ops, NULL);
    if (err != 0) { LOG_ERR("gs_usb_register (err %d)", err); return err; }

    if (!device_is_ready(gs_usb_dev)) { LOG_ERR("gs_usb not ready"); return -ENODEV; }

    const bool has_hs = (usbd_caps_speed(&usbd) == USBD_SPEED_HS);

    LOG_INF("controller caps: %s", has_hs ? "HS" : "FS only");

    if (has_hs) {
        err = usbd_add_configuration(&usbd, USBD_SPEED_HS, &hs_config);
        if (err != 0) { LOG_ERR("add HS config (err %d)", err); return err; }

        err = usbd_register_class(&usbd, "gs_usb_0", USBD_SPEED_HS, 1);
        if (err != 0) { LOG_ERR("register class HS (err %d)", err); return err; }

        err = usbd_device_set_code_triple(&usbd, USBD_SPEED_HS, 0, 0, 0);
        if (err != 0) { LOG_ERR("code triple HS (err %d)", err); return err; }

        err = usbd_device_set_bcd_usb(&usbd, USBD_SPEED_HS, USB_SRN_2_0_1);
        if (err != 0) { LOG_ERR("bcdUSB HS (err %d)", err); return err; }
    }

    err = usbd_add_configuration(&usbd, USBD_SPEED_FS, &fs_config);
    if (err != 0) { LOG_ERR("add FS config (err %d)", err); return err; }

    err = usbd_register_class(&usbd, "gs_usb_0", USBD_SPEED_FS, 1);
    if (err != 0) { LOG_ERR("register class FS (err %d)", err); return err; }

    err = usbd_device_set_code_triple(&usbd, USBD_SPEED_FS, 0, 0, 0);
    if (err != 0) { LOG_ERR("code triple FS (err %d)", err); return err; }

    err = usbd_device_set_bcd_usb(&usbd, USBD_SPEED_FS, USB_SRN_2_0_1);
    if (err != 0) { LOG_ERR("bcdUSB FS (err %d)", err); return err; }

    err = usbd_device_set_bcd_device(&usbd, APP_VERSION_BCD);
    if (err != 0) { LOG_ERR("bcdDevice (err %d)", err); return err; }

    err = usbd_add_descriptor(&usbd, &lang);
    if (err != 0) { LOG_ERR("add lang (err %d)", err); return err; }

    err = usbd_add_descriptor(&usbd, &mfr);
    if (err != 0) { LOG_ERR("add mfr (err %d)", err); return err; }

    err = usbd_add_descriptor(&usbd, &product);
    if (err != 0) { LOG_ERR("add product (err %d)", err); return err; }

    err = usbd_add_descriptor(&usbd, &sn);
    if (err != 0) { LOG_ERR("add serial (err %d)", err); return err; }

    err = usbd_add_descriptor(&usbd, &bos_lpm);
    if (err != 0) { LOG_ERR("add BOS (err %d)", err); return err; }

    err = usbd_msg_register_cb(&usbd, usbd_msg_cb);
    if (err != 0) { LOG_ERR("msg cb (err %d)", err); return err; }

    LOG_INF("caps speed = %d (0=FS 1=HS)", (int)usbd_caps_speed(&usbd));

    LOG_DBG("usbd_init (STP held high)");
    err = usbd_init(&usbd);

    usb_ulpi_phy_stp_release();

    if (err != 0) { LOG_ERR("usbd_init (err %d)", err); return err; }

    for (int i = 0; i < 3; i++) {
        err = usbd_enable(&usbd);
        if (err == 0 || err == -EALREADY) {
            break;
        }
        LOG_WRN("usbd_enable retry %d (err %d)", i, err);
        k_sleep(K_MSEC(100));
    }

    if (err != 0 && err != -EALREADY) { LOG_ERR("usbd_enable (err %d)", err); return err; }

    LOG_INF("USB enabled, bus speed = %d (0=FS 1=HS)", (int)usbd_bus_speed(&usbd));

    return 0;
}

atomic_t USB_CHANNEL_STARTED[CONFIG_USBD_GS_USB_MAX_CHANNELS] = {0},
         USB_CHANNEL_ERROR_OFF[CONFIG_USBD_GS_USB_MAX_CHANNELS] = {0},
         USB_CHANNEL_ERROR_ON[CONFIG_USBD_GS_USB_MAX_CHANNELS] = {0},
         USB_CHANNEL_ACTIVITY_RX[CONFIG_USBD_GS_USB_MAX_CHANNELS] = {0},
         USB_CHANNEL_ACTIVITY_TX[CONFIG_USBD_GS_USB_MAX_CHANNELS] = {0};

const struct device *can_channels[CONFIG_USBD_GS_USB_MAX_CHANNELS] =
{
    DEVICE_DT_GET(DT_NODELABEL(fdcan1)),
    DEVICE_DT_GET(DT_NODELABEL(can_loopback0)),
    DEVICE_DT_GET(DT_NODELABEL(fdcan3)),
};

const struct device *gs_usb_dev = DEVICE_DT_GET(DT_NODELABEL(gs_usb0));
struct gs_usb_ops ops;

int can_channels_validate(const struct device **channels)
{
    for (int i = 0; i < CAN_CHANNELS_NUM; i++) {
        if (channels[i] == NULL)
        {
            return -EINVAL;
        }
    }
    return 0;
}

int gs_usb_event_handler(const struct device *dev, uint16_t ch,
                                enum gs_usb_event event, void *user_data)
{
    ARG_UNUSED(dev);
    ARG_UNUSED(user_data);

    if (ch >= CONFIG_USBD_GS_USB_MAX_CHANNELS) {
        return -EINVAL;
    }

    switch (event)
    {
        case GS_USB_EVENT_CHANNEL_STARTED:
            atomic_inc(&USB_CHANNEL_STARTED[ch]);break;
        case GS_USB_EVENT_CHANNEL_ERROR_OFF:
            atomic_inc(&USB_CHANNEL_ERROR_OFF[ch]);break;
        case GS_USB_EVENT_CHANNEL_ERROR_ON:
            atomic_inc(&USB_CHANNEL_ERROR_ON[ch]);break;
        case GS_USB_EVENT_CHANNEL_ACTIVITY_RX:
            atomic_inc(&USB_CHANNEL_ACTIVITY_RX[ch]);break;
        case GS_USB_EVENT_CHANNEL_ACTIVITY_TX:
            atomic_inc(&USB_CHANNEL_ACTIVITY_TX[ch]);break;
        default:
            break;
    }

    return 0;
}
```
